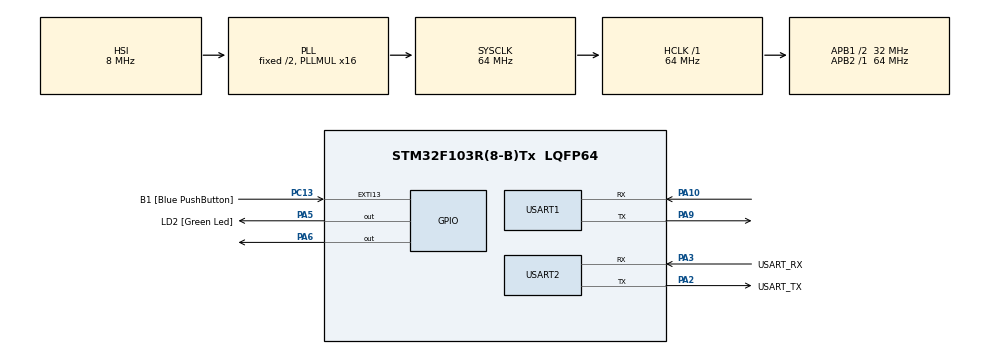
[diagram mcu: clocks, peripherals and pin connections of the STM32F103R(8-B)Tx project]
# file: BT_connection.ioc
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Mcu.Family=STM32F1
Mcu.Name=STM32F103R(8-B)Tx
Mcu.Package=LQFP64
NVIC.EXTI15_10_IRQn=true\:0\:0\:false\:false\:true\:true\:true\:true
NVIC.PriorityGroup=NVIC_PRIORITYGROUP_4
NVIC.USART1_IRQn=true\:0\:0\:false\:false\:true\:true\:true\:true
PA10.Mode=Asynchronous
PA10.Signal=USART1_RX
PA13.GPIO_Label=TMS
PA13.Mode=Serial_Wire
PA13.Signal=SYS_JTMS-SWDIO
PA14.GPIO_Label=TCK
PA14.Mode=Serial_Wire
PA14.Signal=SYS_JTCK-SWCLK
PA2.GPIO_Label=USART_TX
PA2.GPIO_Mode=GPIO_MODE_AF_PP
PA2.GPIO_PuPd=GPIO_NOPULL
PA2.GPIO_Speed=GPIO_SPEED_FREQ_LOW
PA2.Mode=Asynchronous
PA2.Signal=USART2_TX
PA3.GPIO_Label=USART_RX
PA3.GPIO_Mode=GPIO_MODE_AF_PP
PA3.GPIO_PuPd=GPIO_NOPULL
PA3.GPIO_Speed=GPIO_SPEED_FREQ_LOW
PA3.Mode=Asynchronous
PA3.Signal=USART2_RX
PA5.GPIO_Label=LD2 [Green Led]
PA5.GPIO_ModeDefaultOutputPP=GPIO_MODE_OUTPUT_PP
PA5.GPIO_PuPd=GPIO_NOPULL
PA5.GPIO_Speed=GPIO_SPEED_FREQ_LOW
PA5.Signal=GPIO_Output
PA6.Signal=GPIO_Output
PA9.Mode=Asynchronous
PA9.Signal=USART1_TX
PB3.GPIO_Label=SWO
PB3.Signal=SYS_JTDO-TRACESWO
PC13-TAMPER-RTC.GPIO_Label=B1 [Blue PushButton]
PC13-TAMPER-RTC.GPIO_PuPd=GPIO_NOPULL
PC13-TAMPER-RTC.Signal=GPXTI13
PC14-OSC32_IN.Mode=LSE-External-Oscillator
PC14-OSC32_IN.Signal=RCC_OSC32_IN
PC15-OSC32_OUT.Mode=LSE-External-Oscillator
PC15-OSC32_OUT.Signal=RCC_OSC32_OUT
PD0-OSC_IN.Mode=HSE-External-Clock-Source
PD0-OSC_IN.Signal=RCC_OSC_IN
PD1-OSC_OUT.Mode=HSE-External-Clock-Source
PD1-OSC_OUT.Signal=RCC_OSC_OUT
ProjectManager.HeapSize=0x200
ProjectManager.StackSize=0x400
ProjectManager.TargetToolchain=STM32CubeIDE
RCC.AHBFreq_Value=64000000
RCC.APB1CLKDivider=RCC_HCLK_DIV2
RCC.APB1Freq_Value=32000000
RCC.APB1TimFreq_Value=64000000
RCC.APB2Freq_Value=64000000
RCC.APB2TimFreq_Value=64000000
RCC.HCLKFreq_Value=64000000
RCC.PLLMUL=RCC_PLL_MUL16
RCC.RTCClockSelection=RCC_RTCCLKSOURCE_LSE
RCC.SYSCLKFreq_VALUE=64000000
RCC.SYSCLKSource=RCC_SYSCLKSOURCE_PLLCLK
RCC.USBFreq_Value=64000000
USART1.VirtualMode=VM_ASYNC
USART2.VirtualMode=VM_ASYNC
board=NUCLEO-F103RB

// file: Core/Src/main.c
/* USER CODE BEGIN Header */
/**
  ******************************************************************************
  * @file           : main.c
  * @brief          : Main program body
  ******************************************************************************
  * @attention
  *
  * Copyright (c) 2024 STMicroelectronics.
  * All rights reserved.
  *
  * This software is licensed under terms that can be found in the LICENSE file
  * in the root directory of this software component.
  * If no LICENSE file comes with this software, it is provided AS-IS.
  *
  ******************************************************************************
  */
/* USER CODE END Header */
#include "main.h"

UART_HandleTypeDef huart1;
UART_HandleTypeDef huart2;

void SystemClock_Config(void);
static void MX_GPIO_Init(void);
static void MX_USART2_UART_Init(void);
static void MX_USART1_UART_Init(void);
/* USER CODE BEGIN PFP */
uint32_t custom_strlen(const char *str)
{
    uint32_t length = 0;
    while (*str != '\0')
    {
        length++;
        str++;
    }
    return length;
}
/* USER CODE END PFP */

/* USER CODE BEGIN 0 */
char *demo_string = "Ready to transmit\r\n"; //demo string
char *demo_string_2 = "Got it\r\n"; //demo string
uint8_t recv_char;
uint8_t recv_str[20];
int i=0;
char *on = "on";
char *off = "off";
uint8_t ft = 76;
char rx_data[50];
/* USER CODE END 0 */

int main(void)
{

  /* MCU Configuration--------------------------------------------------------*/

  /* Reset of all peripherals, Initializes the Flash interface and the Systick. */
  HAL_Init();

  /* Configure the system clock */
  SystemClock_Config();

  /* Initialize all configured peripherals */
  MX_GPIO_Init();
  MX_USART2_UART_Init();
  MX_USART1_UART_Init();
  /* USER CODE BEGIN 2 */
  HAL_UART_Transmit(&huart1, (uint8_t*)demo_string, custom_strlen(demo_string), HAL_MAX_DELAY); //print to any computer serial monitor (use Putty or any serial monitor software for PC)
  HAL_UART_Receive_IT(&huart1, &recv_char, 1); //UART1 Interrupt call
  /* USER CODE END 2 */
//  HAL_GPIO_WritePin(GPIOA, GPIO_PIN_6, SET);

  /* Infinite loop */
  /* USER CODE BEGIN WHILE */
  while (1)
  {
	   // Buffer to store received data
	  if (HAL_UART_Receive(&huart1, (uint8_t *)rx_data, sizeof(rx_data), HAL_MAX_DELAY) == HAL_OK)
	         {
		  	  	  HAL_UART_Transmit(&huart2, (uint8_t*)rx_data, custom_strlen(rx_data), HAL_MAX_DELAY);
	             // Process received data only if it's not empty
	             if (custom_strlen(rx_data) > 0)
	             {
	            	 HAL_GPIO_WritePin(GPIOA, GPIO_PIN_6, SET);

//	            	 %=HAL_UART_Transmit(&huart1, (uint8_t*)rx_data, custom_strlen(rx_data), HAL_MAX_DELAY);
	             }
	         }
//	  HAL_Delay(1000);
//	  HAL_GPIO_WritePin(GPIOA, GPIO_PIN_6, RESET);
  }
  /* USER CODE END 3 */
}
//void HAL_UART_RxCpltCallback(UART_HandleTypeDef *huart){
//    if(huart->Instance == USART1 ){
//        if(recv_char == '\r'){
//
//	    HAL_UART_Transmit(&huart2, recv_str, i, HAL_MAX_DELAY);
//
//	    if(!strcmp(recv_str, on)){
//		    HAL_GPIO_WritePin(GPIOA, GPIO_PIN_6, SET);
//		}
//		if(!strcmp(recv_str, off)){
//		    HAL_GPIO_WritePin(GPIOA, GPIO_PIN_6, RESET);
//	        }
//
//		memset(recv_str, 0, i);
//		i=0;
//		}else{
//		    if(recv_char == '\r' || recv_char == '\n'){
//		} else{
//		    recv_str[i++] = recv_char;
//		}
//	 }
//	 HAL_UART_Receive_IT(&huart1, &recv_char, 1); //UART1 Interrupt call
//
//    }
//}

void SystemClock_Config(void)
{
  RCC_OscInitTypeDef RCC_OscInitStruct = {0};
  RCC_ClkInitTypeDef RCC_ClkInitStruct = {0};

  /** Initializes the RCC Oscillators according to the specified parameters
  * in the RCC_OscInitTypeDef structure.
  */
  RCC_OscInitStruct.OscillatorType = RCC_OSCILLATORTYPE_HSI;
  RCC_OscInitStruct.HSIState = RCC_HSI_ON;
  RCC_OscInitStruct.HSICalibrationValue = RCC_HSICALIBRATION_DEFAULT;
  RCC_OscInitStruct.PLL.PLLState = RCC_PLL_ON;
  RCC_OscInitStruct.PLL.PLLSource = RCC_PLLSOURCE_HSI_DIV2;
  RCC_OscInitStruct.PLL.PLLMUL = RCC_PLL_MUL16;
  if (HAL_RCC_OscConfig(&RCC_OscInitStruct) != HAL_OK)
  {
    Error_Handler();
  }

  /** Initializes the CPU, AHB and APB buses clocks
  */
  RCC_ClkInitStruct.ClockType = RCC_CLOCKTYPE_HCLK|RCC_CLOCKTYPE_SYSCLK
                              |RCC_CLOCKTYPE_PCLK1|RCC_CLOCKTYPE_PCLK2;
  RCC_ClkInitStruct.SYSCLKSource = RCC_SYSCLKSOURCE_PLLCLK;
  RCC_ClkInitStruct.AHBCLKDivider = RCC_SYSCLK_DIV1;
  RCC_ClkInitStruct.APB1CLKDivider = RCC_HCLK_DIV2;
  RCC_ClkInitStruct.APB2CLKDivider = RCC_HCLK_DIV1;

  if (HAL_RCC_ClockConfig(&RCC_ClkInitStruct, FLASH_LATENCY_2) != HAL_OK)
  {
    Error_Handler();
  }
}

static void MX_USART1_UART_Init(void)
{

  huart1.Instance = USART1;
  huart1.Init.BaudRate = 115200;
  huart1.Init.WordLength = UART_WORDLENGTH_8B;
  huart1.Init.StopBits = UART_STOPBITS_1;
  huart1.Init.Parity = UART_PARITY_NONE;
  huart1.Init.Mode = UART_MODE_TX_RX;
  huart1.Init.HwFlowCtl = UART_HWCONTROL_NONE;
  huart1.Init.OverSampling = UART_OVERSAMPLING_16;
  if (HAL_UART_Init(&huart1) != HAL_OK)
  {
    Error_Handler();
  }

}

static void MX_USART2_UART_Init(void)
{

  huart2.Instance = USART2;
  huart2.Init.BaudRate = 115200;
  huart2.Init.WordLength = UART_WORDLENGTH_8B;
  huart2.Init.StopBits = UART_STOPBITS_1;
  huart2.Init.Parity = UART_PARITY_NONE;
  huart2.Init.Mode = UART_MODE_TX_RX;
  huart2.Init.HwFlowCtl = UART_HWCONTROL_NONE;
  huart2.Init.OverSampling = UART_OVERSAMPLING_16;
  if (HAL_UART_Init(&huart2) != HAL_OK)
  {
    Error_Handler();
  }

}

static void MX_GPIO_Init(void)
{
  GPIO_InitTypeDef GPIO_InitStruct = {0};

  /* GPIO Ports Clock Enable */
  __HAL_RCC_GPIOC_CLK_ENABLE();
  __HAL_RCC_GPIOD_CLK_ENABLE();
  __HAL_RCC_GPIOA_CLK_ENABLE();
  __HAL_RCC_GPIOB_CLK_ENABLE();

  /*Configure GPIO pin Output Level */
  HAL_GPIO_WritePin(GPIOA, LD2_Pin|GPIO_PIN_6, GPIO_PIN_RESET);

  /*Configure GPIO pin : B1_Pin */
  GPIO_InitStruct.Pin = B1_Pin;
  GPIO_InitStruct.Mode = GPIO_MODE_IT_RISING;
  GPIO_InitStruct.Pull = GPIO_NOPULL;
  HAL_GPIO_Init(B1_GPIO_Port, &GPIO_InitStruct);

  /*Configure GPIO pins : LD2_Pin PA6 */
  GPIO_InitStruct.Pin = LD2_Pin|GPIO_PIN_6;
  GPIO_InitStruct.Mode = GPIO_MODE_OUTPUT_PP;
  GPIO_InitStruct.Pull = GPIO_NOPULL;
  GPIO_InitStruct.Speed = GPIO_SPEED_FREQ_LOW;
  HAL_GPIO_Init(GPIOA, &GPIO_InitStruct);

  /* EXTI interrupt init*/
  HAL_NVIC_SetPriority(EXTI15_10_IRQn, 0, 0);
  HAL_NVIC_EnableIRQ(EXTI15_10_IRQn);

}

void Error_Handler(void)
{
  __disable_irq();
  while (1)
  {
  }
}
